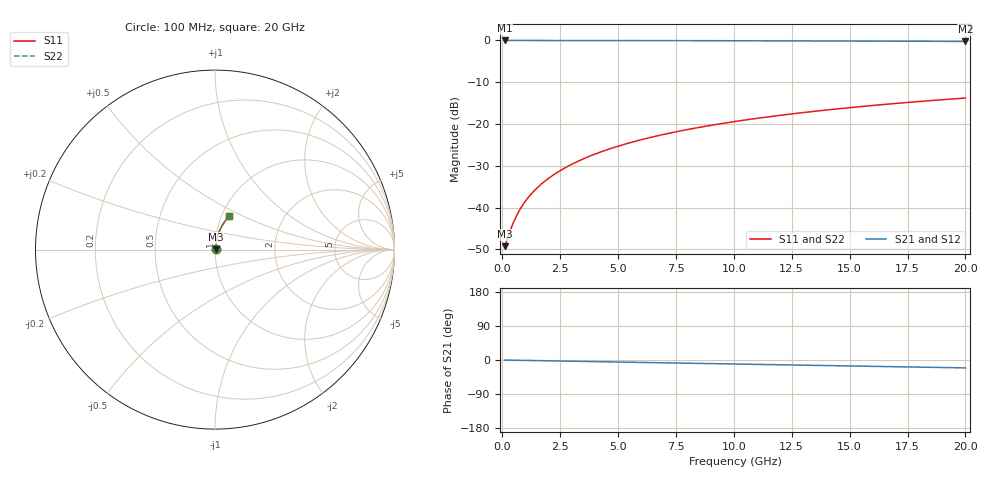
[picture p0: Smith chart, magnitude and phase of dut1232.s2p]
! Touchstone file exported from HFSS 2026.1.0
!  File:  C:/ffzhzh/LocalFiles/Ansys_Project_Files/temp_train_TMRDL_1232_1783163519_18472.aedt
!  Generated:  07:13:13 PM Jul  4, 2026
!  Design:  TMRDL
!  Project:  temp_train_TMRDL_1232_1783163519_18472
! Variables:
!  h_bsmrdl = 2um
!  h_ox = 20um
!  h_rdl = 5um
!  h_sub = 80um
!  h_tmrdl = 2.29um
!  h_tsv = 80um
!  h_via = 3um
!  l_bsmrdl = 300um
!  l_sub = 684.79um
!  l_tmrdl = 284.79um
!  m_sub = 200um
!  pitch = 31.1um
!  r_tsv = 6um
!  s_tmrdl = 10um
!  w_bsmrdl = 18um
!  w_sub = 500um
!  w_tmrdl = 14.76um
!  x_tsv_center1 = 292.17um
!  x_tsv_center2 = 610.17um
!  x_tsv_center3 = 909.72um
!  x_tsv_center4 = 1227.72um
!  x_tsv_center5 = 1527.27um
!  x_tsv_center6 = 1845.27um
# GHz S MA R 50.000000
! Terminal data exported
! Port[1] = TM_RDL1_1_T1
! Port[2] = TM_RDL1_1_T2
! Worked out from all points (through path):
!   200 points, 100 MHz to 20 GHz, reference 50 ohm
!   highest |S21| = -0.03 dB at 100 MHz (marker M1); lowest = -0.3 dB at 20 GHz (marker M2)
!   group delay of S21, straight-line fit = 2.89 ps
!   lowest |S11| = -49.2 dB at 100 MHz (marker M3), VSWR 1.01, Z = 50.3 + j0.12 ohm
!   |S11| at or under -10 dB: start of sweep to end of sweep
!   |S22| runs from -49.2 to -13.8 dB; largest |S21 - S12| = 3e-15
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0.1  0.003462 20.2  0.9968 -0.1  0.9968 -0.1  0.003462 20.2
! Gamma 0 0 0 0
! Port Impedance 50 0 50 0
0.2  0.004064 35.8  0.9967 -0.2  0.9967 -0.2  0.004064 35.8
0.4  0.005828 53.7  0.9966 -0.4  0.9966 -0.4  0.005828 53.7
0.5  0.006822 58.7  0.9965 -0.6  0.9965 -0.6  0.006822 58.7
0.7  0.008868 65.0  0.9963 -0.8  0.9963 -0.8  0.008868 65.0
0.8  0.0099 67.1  0.9962 -0.9  0.9962 -0.9  0.0099 67.1
1  0.01197 70.3  0.9961 -1.1  0.9961 -1.1  0.01197 70.3
1.3  0.01508 73.4  0.9959 -1.4  0.9959 -1.4  0.01508 73.4
1.7  0.01926 76.0  0.9958 -1.8  0.9958 -1.8  0.01926 76.0
2.2  0.02452 77.8  0.9955 -2.4  0.9955 -2.4  0.02452 77.8
2.8  0.03087 79.0  0.9953 -3.0  0.9953 -3.0  0.03087 79.0
3.5  0.03831 79.7  0.9949 -3.8  0.9949 -3.8  0.03831 79.7
4.2  0.04575 79.9  0.9945 -4.5  0.9945 -4.5  0.04575 79.9
5  0.05426 79.8  0.9939 -5.3  0.9939 -5.3  0.05426 79.8
5.9  0.0638 79.4  0.9932 -6.3  0.9932 -6.3  0.0638 79.4
6.8  0.07329 78.8  0.9923 -7.3  0.9923 -7.3  0.07329 78.8
8.3  0.08901 77.7  0.9907 -8.8  0.9907 -8.8  0.08901 77.7
10.1  0.1076 76.2  0.9884 -10.7  0.9884 -10.7  0.1076 76.2
11.7  0.1239 74.7  0.9861 -12.4  0.9861 -12.4  0.1239 74.7
13.4  0.141 73.1  0.9833 -14.1  0.9833 -14.1  0.141 73.2
16.7  0.1733 70.0  0.9773 -17.5  0.9773 -17.5  0.1733 70.0
20  0.2043 66.8  0.9706 -20.8  0.9706 -20.8  0.2043 66.8
